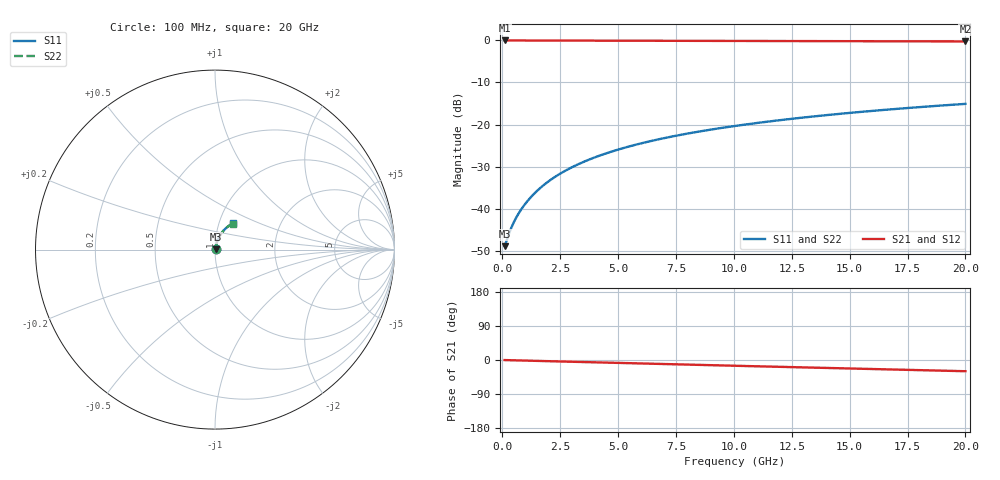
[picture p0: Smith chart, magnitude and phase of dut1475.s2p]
! Touchstone file exported from HFSS 2026.1.0
!  File:  C:/ffzhzh/LocalFiles/Ansys_Project_Files/temp_train_TMRDL_1475_1783167564_55132.aedt
!  Generated:  08:20:31 PM Jul  4, 2026
!  Design:  TMRDL
!  Project:  temp_train_TMRDL_1475_1783167564_55132
! Variables:
!  h_bsmrdl = 2um
!  h_ox = 20um
!  h_rdl = 5um
!  h_sub = 80um
!  h_tmrdl = 3.86um
!  h_tsv = 80um
!  h_via = 3um
!  l_bsmrdl = 300um
!  l_sub = 896.38um
!  l_tmrdl = 496.38um
!  m_sub = 200um
!  pitch = 23.16um
!  r_tsv = 6um
!  s_tmrdl = 10um
!  w_bsmrdl = 18um
!  w_sub = 500um
!  w_tmrdl = 14.13um
!  x_tsv_center1 = 503.445um
!  x_tsv_center2 = 821.445um
!  x_tsv_center3 = 1331.955um
!  x_tsv_center4 = 1649.955um
!  x_tsv_center5 = 2160.465um
!  x_tsv_center6 = 2478.465um
# GHz S MA R 50.000000
! Terminal data exported
! Port[1] = TM_RDL1_1_T1
! Port[2] = TM_RDL1_1_T2
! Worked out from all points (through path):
!   200 points, 100 MHz to 20 GHz, reference 50 ohm
!   highest |S21| = -0.03 dB at 100 MHz (marker M1); lowest = -0.3 dB at 20 GHz (marker M2)
!   group delay of S21, straight-line fit = 4.1 ps
!   lowest |S11| = -48.9 dB at 100 MHz (marker M3), VSWR 1.01, Z = 50.3 + j0.127 ohm
!   |S11| at or under -10 dB: start of sweep to end of sweep
!   |S22| runs from -48.9 to -15.1 dB; largest |S21 - S12| = 3e-15
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0.1  0.003586 20.5  0.9966 -0.2  0.9966 -0.2  0.003586 20.5
! Gamma 0 0 0 0
! Port Impedance 50 0 50 0
0.3  0.005134 44.0  0.9963 -0.5  0.9963 -0.5  0.005134 44.0
0.4  0.006026 50.0  0.9962 -0.7  0.9962 -0.7  0.006027 50.0
0.6  0.007824 57.7  0.9959 -1.0  0.9959 -1.0  0.007826 57.7
0.7  0.00873 60.4  0.9958 -1.1  0.9958 -1.1  0.008732 60.4
0.9  0.01057 64.6  0.9957 -1.4  0.9957 -1.4  0.01057 64.6
1.1  0.01244 67.6  0.9955 -1.7  0.9955 -1.7  0.01244 67.5
1.3  0.01434 69.7  0.9954 -2.0  0.9954 -2.0  0.01435 69.7
1.7  0.01822 72.5  0.9952 -2.6  0.9952 -2.6  0.01822 72.5
2.2  0.02312 74.4  0.9949 -3.4  0.9949 -3.4  0.02312 74.4
2.8  0.02902 75.4  0.9944 -4.3  0.9944 -4.3  0.02902 75.4
3.5  0.03588 75.6  0.9938 -5.4  0.9938 -5.4  0.03588 75.6
4.2  0.04268 75.4  0.9931 -6.5  0.9931 -6.5  0.04268 75.4
5  0.05035 74.8  0.9922 -7.7  0.9922 -7.7  0.05035 74.8
5.9  0.05883 73.9  0.9911 -9.0  0.9911 -9.0  0.05883 73.9
6.8  0.06716 72.9  0.9899 -10.4  0.9899 -10.4  0.06717 72.9
8.3  0.08073 71.1  0.9879 -12.6  0.9879 -12.6  0.08074 71.0
10.1  0.09654 68.8  0.9853 -15.3  0.9853 -15.3  0.09656 68.7
11.7  0.1102 66.7  0.983 -17.6  0.983 -17.6  0.1102 66.7
13.4  0.1244 64.5  0.9805 -20.1  0.9805 -20.1  0.1244 64.5
16.7  0.1508 60.2  0.9754 -24.9  0.9754 -24.9  0.1508 60.1
20  0.1758 55.9  0.9702 -29.6  0.9702 -29.6  0.1759 55.8
